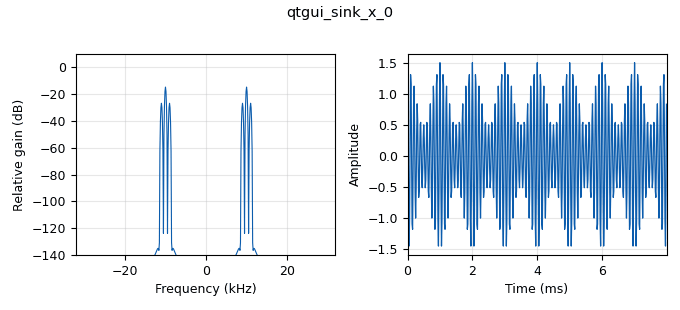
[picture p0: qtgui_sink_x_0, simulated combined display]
options:
  parameters:
    author: santh
    generate_options: qt_gui
    id: SineWaveTran
    output_language: python
    title: Not titled yet
  states: {}

blocks:
- name: samp_rate
  id: variable
  parameters:
    value: 64e3
  states: {}
- name: analog_const_source_x_0
  id: analog_const_source_x
  parameters:
    const: '0.5'
    type: float
  states: {}
- name: analog_const_source_x_1
  id: analog_const_source_x
  parameters:
    const: '1'
    type: float
  states: {}
- name: analog_sig_source_x_0
  id: analog_sig_source_x
  parameters:
    amp: '1'
    freq: 1e3
    offset: '0'
    phase: '0'
    samp_rate: samp_rate
    type: float
    waveform: analog.GR_COS_WAVE
  states: {}
- name: analog_sig_source_x_1
  id: analog_sig_source_x
  parameters:
    amp: '1'
    freq: 10e3
    offset: '0'
    phase: '0'
    samp_rate: samp_rate
    type: float
    waveform: analog.GR_COS_WAVE
  states: {}
- name: blocks_add_xx_0
  id: blocks_add_xx
  parameters:
    type: float
  states: {}
- name: blocks_file_sink_0
  id: blocks_file_sink
  parameters:
    file: C:\POC PROJECT\TransNiranjanSine
    type: float
  states: {}
- name: blocks_multiply_xx_0
  id: blocks_multiply_xx
  parameters:
    type: float
  states: {}
- name: blocks_multiply_xx_1
  id: blocks_multiply_xx
  parameters:
    type: float
  states: {}
- name: blocks_throttle2_0
  id: blocks_throttle2
  parameters:
    limit: time
    maximum: samp_rate
    samples_per_second: samp_rate
    type: float
  states: {}
- name: qtgui_sink_x_0
  id: qtgui_sink_x
  parameters:
    bw: samp_rate
    fc: '0'
    fftsize: '512'
    type: float
  states: {}

connections:
- [analog_const_source_x_0, '0', blocks_multiply_xx_0, '1']
- [analog_const_source_x_1, '0', blocks_add_xx_0, '1']
- [analog_sig_source_x_0, '0', blocks_multiply_xx_0, '0']
- [analog_sig_source_x_1, '0', blocks_multiply_xx_1, '1']
- [blocks_add_xx_0, '0', blocks_multiply_xx_1, '0']
- [blocks_multiply_xx_0, '0', blocks_add_xx_0, '0']
- [blocks_multiply_xx_1, '0', blocks_throttle2_0, '0']
- [blocks_throttle2_0, '0', blocks_file_sink_0, '0']
- [blocks_throttle2_0, '0', qtgui_sink_x_0, '0']

metadata:
  file_format: 1
  grc_version: 3.10.10.0
